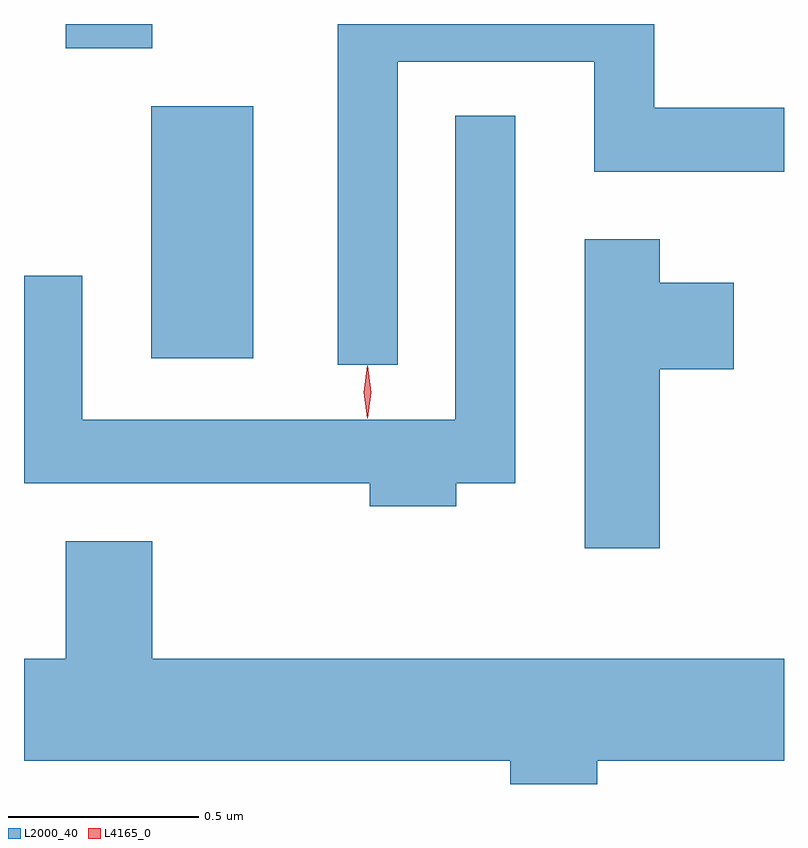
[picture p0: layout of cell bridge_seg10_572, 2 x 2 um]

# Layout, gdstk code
import gdstk
lib = gdstk.Library(unit=1e-6, precision=1e-09)
def R(c, l, rs):  # rectangles x0, y0, x1, y1
    for r in rs: c.add(gdstk.rectangle(r[:2], r[2:], *l))
def P(c, l, *ps):  # polygons
    for p in ps: c.add(gdstk.Polygon(p, *l))
L2000_40 = (2000, 40)
L4165_0 = (4165, 0)

bridge_seg10_572 = lib.new_cell('bridge_seg10_572')
R(bridge_seg10_572, L2000_40, [(783.216,2166.036,783.484,2166.699), (782.991,2166.851,783.219,2166.915)])
P(bridge_seg10_572, L2000_40, [(783.864,2166.816),(784.381,2166.816),(784.381,2166.526),(784.881,2166.526),(784.881,2166.694),(784.539,2166.694),(784.539,2166.915),(783.706,2166.915),(783.706,2166.018),(783.864,2166.018)],
  [(784.019,2165.706),(784.174,2165.706),(784.174,2166.673),(784.016,2166.673),(784.016,2165.874),(783.034,2165.874),(783.034,2166.253),(782.881,2166.253),(782.881,2165.706),(783.791,2165.706),(783.791,2165.646),(784.019,2165.646)],
  [(784.554,2166.006),(784.749,2166.006),(784.749,2166.234),(784.554,2166.234),(784.554,2166.349),(784.356,2166.349),(784.356,2165.536),(784.554,2165.536)],
  [(784.389,2164.976),(784.881,2164.976),(784.881,2165.244),(783.219,2165.244),(783.219,2165.554),(782.991,2165.554),(782.991,2165.244),(782.881,2165.244),(782.881,2164.976),(784.161,2164.976),(784.161,2164.915),(784.389,2164.915)])
P(bridge_seg10_572, L4165_0, [(783.785,2165.877),(783.784,2165.878),(783.775,2165.946),(783.784,2166.016),(783.785,2166.016),(783.786,2166.016),(783.795,2165.946),(783.786,2165.878)])

lib.write_gds('bridge_seg10_572.gds')
